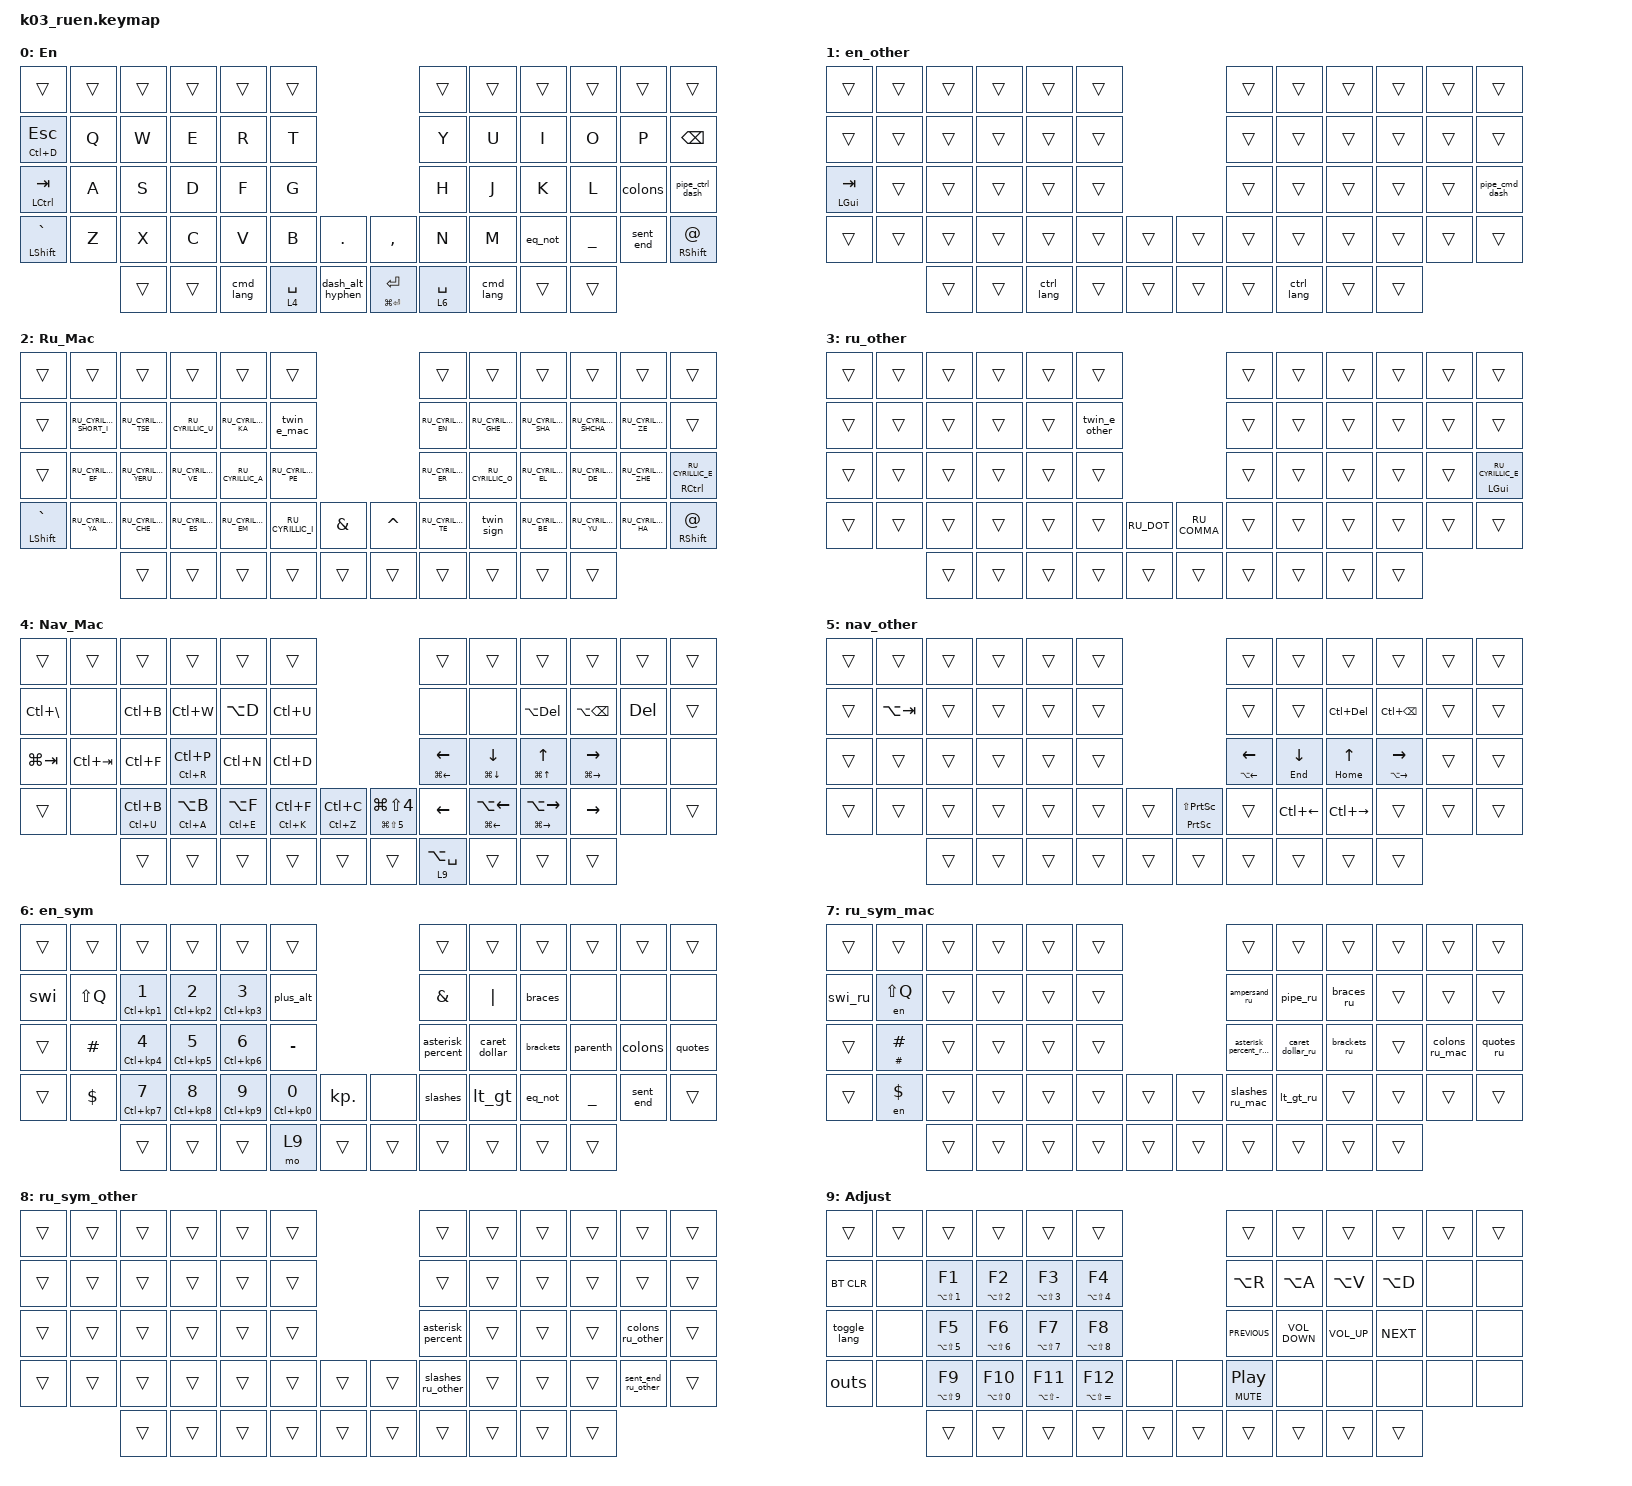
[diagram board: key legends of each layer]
#include "keys_ru.h"
#include <behaviors.dtsi>
#include <dt-bindings/zmk/bt.h>
#include <dt-bindings/zmk/keys.h>
#include <dt-bindings/zmk/outputs.h>

&sk { release-after-ms = <3000>; };

/ {
    behaviors {
        enc_vol: enc_vol {
            compatible = "zmk,behavior-sensor-rotate";
            label = "ENC_VOL";
            #sensor-binding-cells = <0>;
            bindings = <&kp C_VOL_UP>, <&kp C_VOL_DN>;
        };

        sec_kp_kp: sec_kp_kp {
            compatible = "zmk,behavior-hold-tap";
            label = "SEC_KP_KP";
            bindings = <&kp>, <&kp>;

            #binding-cells = <2>;
            tapping-term-ms = <200>;
            flavor = "tap-preferred";
        };

        num: num {
            compatible = "zmk,behavior-hold-tap";
            label = "NUM";
            bindings = <&kp>, <&en>;

            #binding-cells = <2>;
            tapping-term-ms = <200>;
            flavor = "tap-preferred";
        };

        twin_e_mac: twin_e_mac {
            compatible = "zmk,behavior-tap-dance";
            label = "TWIN_E_MAC";
            #binding-cells = <0>;
            bindings = <&kp RU_CYRILLIC_IE>, <&kp BACKSLASH>;
        };

        twin_sign: twin_sign {
            compatible = "zmk,behavior-tap-dance";
            label = "TWIN_SIGN";
            #binding-cells = <0>;
            bindings = <&kp RU_CYRILLIC_SOFT_SIGN>, <&kp RU_CYRILLIC_HARD_SIGN>;
        };

        braces: braces {
            compatible = "zmk,behavior-tap-dance";
            label = "BRACES";
            #binding-cells = <0>;
            bindings = <&kp LEFT_BRACE>, <&kp RIGHT_BRACE>;
        };

        brackets: brackets {
            compatible = "zmk,behavior-tap-dance";
            label = "BRACKETS";
            #binding-cells = <0>;
            bindings = <&kp LEFT_BRACKET>, <&kp RIGHT_BRACKET>;
        };

        parenth: parenth {
            compatible = "zmk,behavior-tap-dance";
            label = "PARENTH";
            #binding-cells = <0>;
            bindings = <&kp LEFT_PARENTHESIS>, <&kp RIGHT_PARENTHESIS>;
        };

        lt_gt: lt_gt {
            compatible = "zmk,behavior-tap-dance";
            label = "LT_GT";
            #binding-cells = <0>;
            bindings = <&kp LESS_THAN>, <&kp GREATER_THAN>;
        };

        braces_ru: braces_ru {
            compatible = "zmk,behavior-tap-dance";
            label = "BRACES_RU";
            #binding-cells = <0>;
            bindings = <&en LEFT_BRACE>, <&en RIGHT_BRACE>;
        };

        brackets_ru: brackets_ru {
            compatible = "zmk,behavior-tap-dance";
            label = "BRACKETS_RU";
            #binding-cells = <0>;
            bindings = <&en LEFT_BRACKET>, <&en RIGHT_BRACKET>;
        };

        lt_gt_ru: lt_gt_ru {
            compatible = "zmk,behavior-tap-dance";
            label = "LT_GT_RU";
            #binding-cells = <0>;
            bindings = <&en LESS_THAN>, <&en GREATER_THAN>;
        };

        colons: colons {
            compatible = "zmk,behavior-tap-dance";
            label = "COLONS";
            #binding-cells = <0>;
            bindings = <&kp COLON>, <&kp SEMICOLON>;
        };

        colons_ru_mac: colons_ru_mac {
            compatible = "zmk,behavior-tap-dance";
            label = "COLONS_RU_MAC";
            #binding-cells = <0>;
            bindings = <&kp PERCENT>, <&kp ASTERISK>;
        };

        eq_not: eq_not {
            compatible = "zmk,behavior-tap-dance";
            label = "EQ_NOT";
            #binding-cells = <0>;
            bindings = <&kp KP_EQUAL>, <&kp EXCLAMATION>;
        };

        sent_end: sent_end {
            compatible = "zmk,behavior-tap-dance";
            label = "SENTENCE_END";
            #binding-cells = <0>;
            bindings = <&kp QUESTION>, <&kp EXCLAMATION>;
        };

        quotes: quotes {
            compatible = "zmk,behavior-tap-dance";
            label = "QUOTES";
            #binding-cells = <0>;
            bindings = <&kp SINGLE_QUOTE>, <&kp DOUBLE_QUOTES>;
        };

        quotes_ru: quotes_ru {
            compatible = "zmk,behavior-tap-dance";
            label = "QUOTES_RU";
            #binding-cells = <0>;
            bindings = <&en SINGLE_QUOTE>, <&kp AT_SIGN>;
        };

        pipe_ctrl_dash: pipe_ctrl_dash {
            compatible = "zmk,behavior-tap-dance";
            label = "PIPE_CTRL_DASH";
            #binding-cells = <0>;
            bindings = <&mt RCTRL PIPE>, <&kp KP_MINUS>;

            tapping-term-ms = <300>;
        };

        caret_dollar: caret_dollar {
            compatible = "zmk,behavior-tap-dance";
            label = "CARET_DOLLAR";
            #binding-cells = <0>;
            bindings = <&kp CARET>, <&kp DOLLAR>;
        };

        caret_dollar_ru: caret_dollar_ru {
            compatible = "zmk,behavior-tap-dance";
            label = "CARET_DOLLAR_RU";
            #binding-cells = <0>;
            bindings = <&en CARET>, <&en DOLLAR>;
        };

        dash_alt_hyphen: dash_alt_hyphen {
            compatible = "zmk,behavior-tap-dance";
            label = "DASH_ALT_HYPHEN";
            #binding-cells = <0>;
            bindings = <&mt LALT MINUS>, <&kp LA(UNDERSCORE)>;

            tapping-term-ms = <300>;
        };

        plus_alt: plus_alt {
            compatible = "zmk,behavior-tap-dance";
            label = "PLUS_ALT";
            #binding-cells = <0>;
            bindings = <&kp PLUS>, <&kp LA(PLUS)>;
        };

        mt_en: mt_en {
            compatible = "zmk,behavior-hold-tap";
            label = "MT_EN";
            bindings = <&kp>, <&en_stick>;

            #binding-cells = <2>;
            tapping-term-ms = <200>;
        };

        layer_activate: layer_activate {
            compatible = "zmk,behavior-toggle-layer";
            label = "LAYER_ACTIVATE";
            #binding-cells = <1>;
        };

        layer_deactivate: layer_deactivate {
            compatible = "zmk,behavior-toggle-layer";
            label = "LAYER_DEACTIVATE";
            #binding-cells = <1>;
            toggle-mode = "off";
        };

        outs: outs {
            compatible = "zmk,behavior-tap-dance";
            label = "OUTS";
            #binding-cells = <0>;
            bindings = <&out_usb>, <&out_bluetooth>;
        };

        pipe_cmd_dash: pipe_cmd_dash {
            compatible = "zmk,behavior-tap-dance";
            label = "PIPE_CMD_DASH";
            #binding-cells = <0>;
            bindings = <&mt RGUI PIPE>, <&kp KP_MINUS>;

            tapping-term-ms = <300>;
        };

        cmd_lang: cmd_lang {
            compatible = "zmk,behavior-tap-dance";
            label = "CMD_LANG";
            #binding-cells = <0>;
            bindings = <&kp LGUI>, <&toggle_layout>;
        };

        ctrl_lang: ctrl_lang {
            compatible = "zmk,behavior-tap-dance";
            label = "CTRL_LANG";
            #binding-cells = <0>;
            bindings = <&kp LCTRL>, <&toggle_layout>;
        };

        twin_e_other: twin_e_other {
            compatible = "zmk,behavior-tap-dance";
            label = "TWIN_E_OTHER";
            #binding-cells = <0>;
            bindings = <&kp RU_CYRILLIC_IE>, <&kp RU_CYRILLIC_IO>;
        };

        mo_kp: mo_kp {
            compatible = "zmk,behavior-hold-tap";
            label = "MO_KP";
            bindings = <&mo>, <&kp>;

            #binding-cells = <2>;
            tapping-term-ms = <200>;
        };

        slashes: slashes {
            compatible = "zmk,behavior-tap-dance";
            label = "SLASHES";
            #binding-cells = <0>;
            bindings = <&kp SLASH>, <&kp BACKSLASH>;
        };

        slashes_ru_other: slashes_ru_other {
            compatible = "zmk,behavior-tap-dance";
            label = "SLASHES_RU_OTHER";
            #binding-cells = <0>;
            bindings = <&kp RU_SLASH>, <&kp RU_BACKSLASH>;
        };

        slashes_ru_mac: slashes_ru_mac {
            compatible = "zmk,behavior-tap-dance";
            label = "SLASHES_RU_MAC";
            #binding-cells = <0>;
            bindings = <&en SLASH>, <&en BACKSLASH>;
        };

        colons_ru_other: colons_ru_other {
            compatible = "zmk,behavior-tap-dance";
            label = "COLONS_RU_OTHER";
            #binding-cells = <0>;
            bindings = <&kp CARET>, <&kp DOLLAR>;
        };

        asterisk_percent: asterisk_percent {
            compatible = "zmk,behavior-tap-dance";
            label = "ASTERISK_PERCENT";
            #binding-cells = <0>;
            bindings = <&kp ASTERISK>, <&kp PERCENT>;
        };

        asterisk_percent_ru_mac: asterisk_percent_ru_mac {
            compatible = "zmk,behavior-tap-dance";
            label = "ASTERISK_PERCENT_RU_MAC";
            #binding-cells = <0>;
            bindings = <&en ASTERISK>, <&kp DOLLAR>;
        };

        sent_end_ru_other: sent_end_ru_other {
            compatible = "zmk,behavior-tap-dance";
            label = "SENT_END_RU_OTHER";
            #binding-cells = <0>;
            bindings = <&kp AMPERSAND>, <&kp EXCLAMATION>;
        };
    };

    combos {
        compatible = "zmk,combos";

        q1_combo {
            bindings = <&q1>;
            key-positions = <2 1>;
            layers = <6>;
        };

        q2_combo {
            bindings = <&q2>;
            key-positions = <3 1>;
            layers = <6>;
        };

        q3_combo {
            bindings = <&q3>;
            key-positions = <4 1>;
            layers = <6>;
        };

        q4_combo {
            bindings = <&q4>;
            key-positions = <14 1>;
            layers = <6>;
        };

        q1_combo_ru {
            bindings = <&q1_ru>;
            key-positions = <2 1>;
            layers = <7>;
        };

        q2_combo_ru {
            bindings = <&q2_ru>;
            key-positions = <3 1>;
            layers = <7>;
        };

        q3_combo_ru {
            bindings = <&q3_ru>;
            key-positions = <4 1>;
            layers = <7>;
        };

        q4_combo_ru {
            bindings = <&q4_ru>;
            key-positions = <14 1>;
            layers = <7>;
        };

        evo_1_combo {
            bindings = <&evo_1>;
            key-positions = <10 7>;
            layers = <6>;
        };

        evo_2_combo {
            bindings = <&evo_2>;
            key-positions = <10 8>;
            layers = <6>;
        };

        evo_3_combo {
            bindings = <&evo_3>;
            key-positions = <10 9>;
            layers = <6>;
        };

        evo_1_combo_ru {
            bindings = <&evo_1_ru>;
            key-positions = <10 7>;
            layers = <7>;
        };

        evo_2_combo_ru {
            bindings = <&evo_2_ru>;
            key-positions = <10 8>;
            layers = <7>;
        };

        evo_3_combo_ru {
            bindings = <&evo_3_ru>;
            key-positions = <10 9>;
            layers = <7>;
        };
    };

    macros {
        to_ru: to_ru {
            compatible = "zmk,behavior-macro";
            #binding-cells = <0>;
            bindings = <&toggle_lang>;
            label = "TO_RU";
            wait-ms = <0>;
            tap-ms = <30>;
        };

        to_en: to_en {
            compatible = "zmk,behavior-macro";
            #binding-cells = <0>;
            bindings = <&toggle_lang>;
            label = "TO_EN";
            wait-ms = <0>;
            tap-ms = <30>;
        };

        en: en {
            compatible = "zmk,behavior-macro-one-param";
            #binding-cells = <1>;
            bindings = <&to_en &macro_param_1to1 &kp MACRO_PLACEHOLDER &to_ru>;
            label = "EN";
            wait-ms = <0>;
            tap-ms = <30>;
        };

        q1: q1 {
            compatible = "zmk,behavior-macro";
            #binding-cells = <0>;
            bindings = <&kp LS(Q) &kp N1 &kp SQT &kp N2 &kp N0 &kp N2 &kp N6>;
            label = "Q1";
        };

        q2: q2 {
            compatible = "zmk,behavior-macro";
            #binding-cells = <0>;
            bindings = <&kp LS(Q) &kp N2 &kp SQT &kp N2 &kp N0 &kp N2 &kp N6>;
            label = "Q2";
        };

        q3: q3 {
            compatible = "zmk,behavior-macro";
            #binding-cells = <0>;
            bindings = <&kp LS(Q) &kp N3 &kp SQT &kp N2 &kp N0 &kp N2 &kp N6>;
            label = "Q3";
        };

        q4: q4 {
            compatible = "zmk,behavior-macro";
            #binding-cells = <0>;
            bindings = <&kp LS(Q) &kp N4 &kp SQT &kp N2 &kp N0 &kp N2 &kp N6>;
            label = "Q4";
        };

        swi: swi {
            compatible = "zmk,behavior-macro";
            #binding-cells = <0>;
            bindings = <&kp S &kp W &kp I &kp UNDER>;
            label = "SWI";
        };

        q1_ru: q1_ru {
            compatible = "zmk,behavior-macro";
            #binding-cells = <0>;
            bindings = <&to_en &q1 &to_ru>;
            label = "Q1_RU";
        };

        q2_ru: q2_ru {
            compatible = "zmk,behavior-macro";
            #binding-cells = <0>;
            bindings = <&to_en &q2 &to_ru>;
            label = "Q2_RU";
        };

        q3_ru: q3_ru {
            compatible = "zmk,behavior-macro";
            #binding-cells = <0>;
            bindings = <&to_en &q3 &to_ru>;
            label = "Q3_RU";
        };

        q4_ru: q4_ru {
            compatible = "zmk,behavior-macro";
            #binding-cells = <0>;
            bindings = <&to_en &q4 &to_ru>;
            label = "Q4_RU";
        };

        swi_ru: swi_ru {
            compatible = "zmk,behavior-macro";
            #binding-cells = <0>;
            bindings = <&to_en &swi &to_ru>;
            label = "SWI_RU";
        };

        evo_1: evo_1 {
            compatible = "zmk,behavior-macro";
            #binding-cells = <0>;
            bindings = <&kp LS(E) &kp LS(V) &kp LS(O) &kp DOT &kp N1>;
            label = "EVO_1";
        };

        evo_2: evo_2 {
            compatible = "zmk,behavior-macro";
            #binding-cells = <0>;
            bindings = <&kp LS(E) &kp LS(V) &kp LS(O) &kp DOT &kp N2>;
            label = "EVO_2";
        };

        evo_3: evo_3 {
            compatible = "zmk,behavior-macro";
            #binding-cells = <0>;
            bindings = <&kp LS(E) &kp LS(V) &kp LS(O) &kp DOT &kp N3>;
            label = "EVO_3";
        };

        evo_1_ru: evo_1_ru {
            compatible = "zmk,behavior-macro";
            #binding-cells = <0>;
            bindings = <&to_en &evo_1 &to_ru>;
            label = "EVO_1_RU";
        };

        evo_2_ru: evo_2_ru {
            compatible = "zmk,behavior-macro";
            #binding-cells = <0>;
            bindings = <&to_en &evo_2 &to_ru>;
            label = "EVO_2_RU";
        };

        evo_3_ru: evo_3_ru {
            compatible = "zmk,behavior-macro";
            #binding-cells = <0>;
            bindings = <&to_en &evo_3 &to_ru>;
            label = "EVO_3_RU";
        };

        out_bluetooth: out_bluetooth {
            compatible = "zmk,behavior-macro";
            #binding-cells = <0>;
            bindings = <&out OUT_BLE &layer_deactivate 1>;
            label = "OUT_BLUETOOTH";
        };

        out_usb: out_usb {
            compatible = "zmk,behavior-macro";
            #binding-cells = <0>;
            bindings = <&out OUT_USB &layer_activate 1>;
            label = "OUT_USB";
        };

        toggle_lang: toggle_lang {
            compatible = "zmk,behavior-macro";
            #binding-cells = <0>;
            bindings = <&kp LG(LC(SPACE))>;
            label = "TOGGLE_LANG";
            wait-ms = <0>;
            tap-ms = <30>;
        };

        toggle_layout: toggle_layout {
            compatible = "zmk,behavior-macro";
            #binding-cells = <0>;
            bindings = <&toggle_lang &tog 2>;
            label = "TOGGLE_LAYOUT";
            wait-ms = <0>;
            tap-ms = <30>;
        };

        en_bck: en_bck {
            compatible = "zmk,behavior-macro-one-param";
            #binding-cells = <1>;
            bindings =
                <&to_en>,
                <&macro_press>,
                <&macro_param_1to1 &kp MACRO_PLACEHOLDER>,
                <&macro_pause_for_release>,
                <&macro_release>,
                <&macro_param_1to1 &kp MACRO_PLACEHOLDER>,
                <&macro_tap>,
                <&to_ru>;

            label = "EN_BCK";
            wait-ms = <0>;
            tap-ms = <30>;
        };

        ampersand_ru: ampersand_ru {
            compatible = "zmk,behavior-macro";
            #binding-cells = <0>;
            bindings = <&to_en &kp AMPERSAND &to_ru>;
            label = "AMPERSAND_RU";
        };

        pipe_ru: pipe_ru {
            compatible = "zmk,behavior-macro";
            #binding-cells = <0>;
            bindings = <&to_en &kp PIPE &to_ru>;
            label = "PIPE_RU";
        };

        en_stick: en_stick {
            compatible = "zmk,behavior-macro-one-param";
            #binding-cells = <1>;
            bindings = <&to_en &macro_param_1to1 &kp MACRO_PLACEHOLDER>;
            label = "EN_STICK";
            wait-ms = <0>;
            tap-ms = <30>;
        };
    };

    keymap {
        compatible = "zmk,keymap";

        en {
            bindings = <
&trans                   &trans  &trans  &trans  &trans     &trans                                                       &trans       &trans     &trans   &trans          &trans     &trans
&sec_kp_kp LC(D) ESCAPE  &kp Q   &kp W   &kp E   &kp R      &kp T                                                        &kp Y        &kp U      &kp I    &kp O           &kp P      &kp BACKSPACE
&mt LCTRL TAB            &kp A   &kp S   &kp D   &kp F      &kp G                                                        &kp H        &kp J      &kp K    &kp L           &colons    &pipe_ctrl_dash
&mt LSHFT GRAVE          &kp Z   &kp X   &kp C   &kp V      &kp B        &kp DOT             &kp COMMA                   &kp N        &kp M      &eq_not  &kp UNDERSCORE  &sent_end  &mt RSHFT AT
                                 &trans  &trans  &cmd_lang  &lt 4 SPACE  &dash_alt_hyphen    &sec_kp_kp LG(ENTER) ENTER  &lt 6 SPACE  &cmd_lang  &trans   &trans
            >;

            display-name = "En";
        };

        en_other {
            bindings = <
&trans        &trans  &trans  &trans  &trans      &trans                    &trans  &trans      &trans  &trans  &trans  &trans
&trans        &trans  &trans  &trans  &trans      &trans                    &trans  &trans      &trans  &trans  &trans  &trans
&mt LGUI TAB  &trans  &trans  &trans  &trans      &trans                    &trans  &trans      &trans  &trans  &trans  &pipe_cmd_dash
&trans        &trans  &trans  &trans  &trans      &trans  &trans    &trans  &trans  &trans      &trans  &trans  &trans  &trans
                      &trans  &trans  &ctrl_lang  &trans  &trans    &trans  &trans  &ctrl_lang  &trans  &trans
            >;
        };

        ru_mac {
            display-name = "Ru_Mac";
            bindings = <
&trans              &trans                   &trans                &trans              &trans              &trans                                          &trans              &trans               &trans               &trans                 &trans               &trans
&trans              &kp RU_CYRILLIC_SHORT_I  &kp RU_CYRILLIC_TSE   &kp RU_CYRILLIC_U   &kp RU_CYRILLIC_KA  &twin_e_mac                                     &kp RU_CYRILLIC_EN  &kp RU_CYRILLIC_GHE  &kp RU_CYRILLIC_SHA  &kp RU_CYRILLIC_SHCHA  &kp RU_CYRILLIC_ZE   &trans
&trans              &kp RU_CYRILLIC_EF       &kp RU_CYRILLIC_YERU  &kp RU_CYRILLIC_VE  &kp RU_CYRILLIC_A   &kp RU_CYRILLIC_PE                              &kp RU_CYRILLIC_ER  &kp RU_CYRILLIC_O    &kp RU_CYRILLIC_EL   &kp RU_CYRILLIC_DE     &kp RU_CYRILLIC_ZHE  &mt RCTRL RU_CYRILLIC_E
&mt_en LSHFT GRAVE  &kp RU_CYRILLIC_YA       &kp RU_CYRILLIC_CHE   &kp RU_CYRILLIC_ES  &kp RU_CYRILLIC_EM  &kp RU_CYRILLIC_I   &kp AMPERSAND    &kp CARET  &kp RU_CYRILLIC_TE  &twin_sign           &kp RU_CYRILLIC_BE   &kp RU_CYRILLIC_YU     &kp RU_CYRILLIC_HA   &mt_en RSHFT AT
                                             &trans                &trans              &trans              &trans              &trans           &trans     &trans              &trans               &trans               &trans
            >;
        };

        ru_other {
            bindings = <
&trans  &trans  &trans  &trans  &trans  &trans                                     &trans  &trans  &trans  &trans  &trans  &trans
&trans  &trans  &trans  &trans  &trans  &twin_e_other                              &trans  &trans  &trans  &trans  &trans  &trans
&trans  &trans  &trans  &trans  &trans  &trans                                     &trans  &trans  &trans  &trans  &trans  &mt LGUI RU_CYRILLIC_E
&trans  &trans  &trans  &trans  &trans  &trans         &kp RU_DOT    &kp RU_COMMA  &trans  &trans  &trans  &trans  &trans  &trans
                &trans  &trans  &trans  &trans         &trans        &trans        &trans  &trans  &trans  &trans
            >;
        };

        nav_mac {
            bindings = <
&trans             &trans       &trans                  &trans                  &trans                  &trans                                                                              &trans                    &trans                        &trans                          &trans                      &trans      &trans
&kp LC(BACKSLASH)  &none        &kp LC(B)               &kp LC(W)               &kp LA(D)               &kp LC(U)                                                                           &none                     &none                         &kp LA(DELETE)                  &kp LA(BACKSPACE)           &kp DELETE  &trans
&kp LG(TAB)        &kp LC(TAB)  &kp LC(F)               &sec_kp_kp LC(R) LC(P)  &kp LC(N)               &kp LC(D)                                                                           &sec_kp_kp LG(LEFT) LEFT  &sec_kp_kp LG(DOWN) DOWN      &sec_kp_kp LG(UP) UP            &sec_kp_kp LG(RIGHT) RIGHT  &none       &none
&trans             &none        &sec_kp_kp LC(U) LC(B)  &sec_kp_kp LC(A) LA(B)  &sec_kp_kp LC(E) LA(F)  &sec_kp_kp LC(K) LC(F)  &sec_kp_kp LC(Z) LC(C)    &sec_kp_kp LG(LS(N5)) LG(LS(N4))  &kp LEFT                  &sec_kp_kp LG(LEFT) LA(LEFT)  &sec_kp_kp LG(RIGHT) LA(RIGHT)  &kp RIGHT                   &none       &trans
                                &trans                  &trans                  &trans                  &trans                  &trans                    &trans                            &mo_kp 9 LA(SPACE)        &trans                        &trans                          &trans
            >;

            display-name = "Nav_Mac";
        };

        nav_other {
            bindings = <
&trans  &trans       &trans  &trans  &trans  &trans                                                    &trans                    &trans               &trans              &trans                      &trans  &trans
&trans  &kp LA(TAB)  &trans  &trans  &trans  &trans                                                    &trans                    &trans               &kp LC(DELETE)      &kp LC(BACKSPACE)           &trans  &trans
&trans  &trans       &trans  &trans  &trans  &trans                                                    &sec_kp_kp LA(LEFT) LEFT  &sec_kp_kp END DOWN  &sec_kp_kp HOME UP  &sec_kp_kp LA(RIGHT) RIGHT  &trans  &trans
&trans  &trans       &trans  &trans  &trans  &trans  &trans    &sec_kp_kp PRINTSCREEN LS(PRINTSCREEN)  &trans                    &kp LC(LEFT)         &kp LC(RIGHT)       &trans                      &trans  &trans
                     &trans  &trans  &trans  &trans  &trans    &trans                                  &trans                    &trans               &trans              &trans
            >;
        };

        en_sym {
            bindings = <
&trans  &trans      &trans                   &trans                   &trans                   &trans                                         &trans             &trans         &trans     &trans          &trans     &trans
&swi    &kp LS(Q)   &sec_kp_kp LC(KP_N1) N1  &sec_kp_kp LC(KP_N2) N2  &sec_kp_kp LC(KP_N3) N3  &plus_alt                                      &kp AMPERSAND      &kp PIPE       &braces    &none           &none      &none
&trans  &kp HASH    &sec_kp_kp LC(KP_N4) N4  &sec_kp_kp LC(KP_N5) N5  &sec_kp_kp LC(KP_N6) N6  &kp MINUS                                      &asterisk_percent  &caret_dollar  &brackets  &parenth        &colons    &quotes
&trans  &kp DOLLAR  &sec_kp_kp LC(KP_N7) N7  &sec_kp_kp LC(KP_N8) N8  &sec_kp_kp LC(KP_N9) N9  &sec_kp_kp LC(KP_N0) N0  &kp KP_DOT    &none   &slashes           &lt_gt         &eq_not    &kp UNDERSCORE  &sent_end  &trans
                    &trans                   &trans                   &trans                   &mo 9                    &trans        &trans  &trans             &trans         &trans     &trans
            >;
        };

        ru_sym_mac {
            bindings = <
&trans   &trans          &trans  &trans  &trans  &trans                    &trans                    &trans            &trans        &trans  &trans          &trans
&swi_ru  &en LS(Q)       &trans  &trans  &trans  &trans                    &ampersand_ru             &pipe_ru          &braces_ru    &trans  &trans          &trans
&trans   &num HASH HASH  &trans  &trans  &trans  &trans                    &asterisk_percent_ru_mac  &caret_dollar_ru  &brackets_ru  &trans  &colons_ru_mac  &quotes_ru
&trans   &en DOLLAR      &trans  &trans  &trans  &trans  &trans    &trans  &slashes_ru_mac           &lt_gt_ru         &trans        &trans  &trans          &trans
                         &trans  &trans  &trans  &trans  &trans    &trans  &trans                    &trans            &trans        &trans
            >;
        };

        ru_sym_other {
            bindings = <
&trans  &trans  &trans  &trans  &trans  &trans                    &trans             &trans  &trans  &trans  &trans              &trans
&trans  &trans  &trans  &trans  &trans  &trans                    &trans             &trans  &trans  &trans  &trans              &trans
&trans  &trans  &trans  &trans  &trans  &trans                    &asterisk_percent  &trans  &trans  &trans  &colons_ru_other    &trans
&trans  &trans  &trans  &trans  &trans  &trans  &trans    &trans  &slashes_ru_other  &trans  &trans  &trans  &sent_end_ru_other  &trans
                &trans  &trans  &trans  &trans  &trans    &trans  &trans             &trans  &trans  &trans
            >;
        };

        adjust {
            bindings = <
&trans        &trans  &trans                          &trans                           &trans                          &trans                                            &trans                          &trans             &trans           &trans      &trans  &trans
&bt BT_CLR    &none   &sec_kp_kp LA(LS(NUMBER_1)) F1  &sec_kp_kp LA(LS(NUMBER_2)) F2   &sec_kp_kp LA(LS(NUMBER_3)) F3  &sec_kp_kp LA(LS(NUMBER_4)) F4                    &kp LA(R)                       &kp LA(A)          &kp LA(V)        &kp LA(D)   &none   &none
&toggle_lang  &none   &sec_kp_kp LA(LS(NUMBER_5)) F5  &sec_kp_kp LA(LS(NUMBER_6)) F6   &sec_kp_kp LA(LS(NUMBER_7)) F7  &sec_kp_kp LA(LS(NUMBER_8)) F8                    &kp C_PREVIOUS                  &kp C_VOLUME_DOWN  &kp C_VOLUME_UP  &kp C_NEXT  &none   &none
&outs         &none   &sec_kp_kp LA(LS(NUMBER_9)) F9  &sec_kp_kp LA(LS(NUMBER_0)) F10  &sec_kp_kp LA(LS(MINUS)) F11    &sec_kp_kp LA(LS(EQUAL)) F12    &none     &none   &sec_kp_kp K_MUTE C_PLAY_PAUSE  &none              &none            &none       &none   &none
                      &trans                          &trans                           &trans                          &trans                          &trans    &trans  &trans                          &trans             &trans           &trans
            >;

            display-name = "Adjust";
        };
    };

    conditional_layers {
        compatible = "zmk,conditional-layers";

        override_sym_for_ru {
            if-layers = <6 2>;
            then-layer = <7>;
        };

        fix_ru_for_other {
            if-layers = <1 2>;
            then-layer = <3>;
        };

        override_nav_for_other {
            if-layers = <1 4>;
            then-layer = <5>;
        };

        override_sym_ru_for_other {
            if-layers = <1 7>;
            then-layer = <8>;
        };
    };
};
